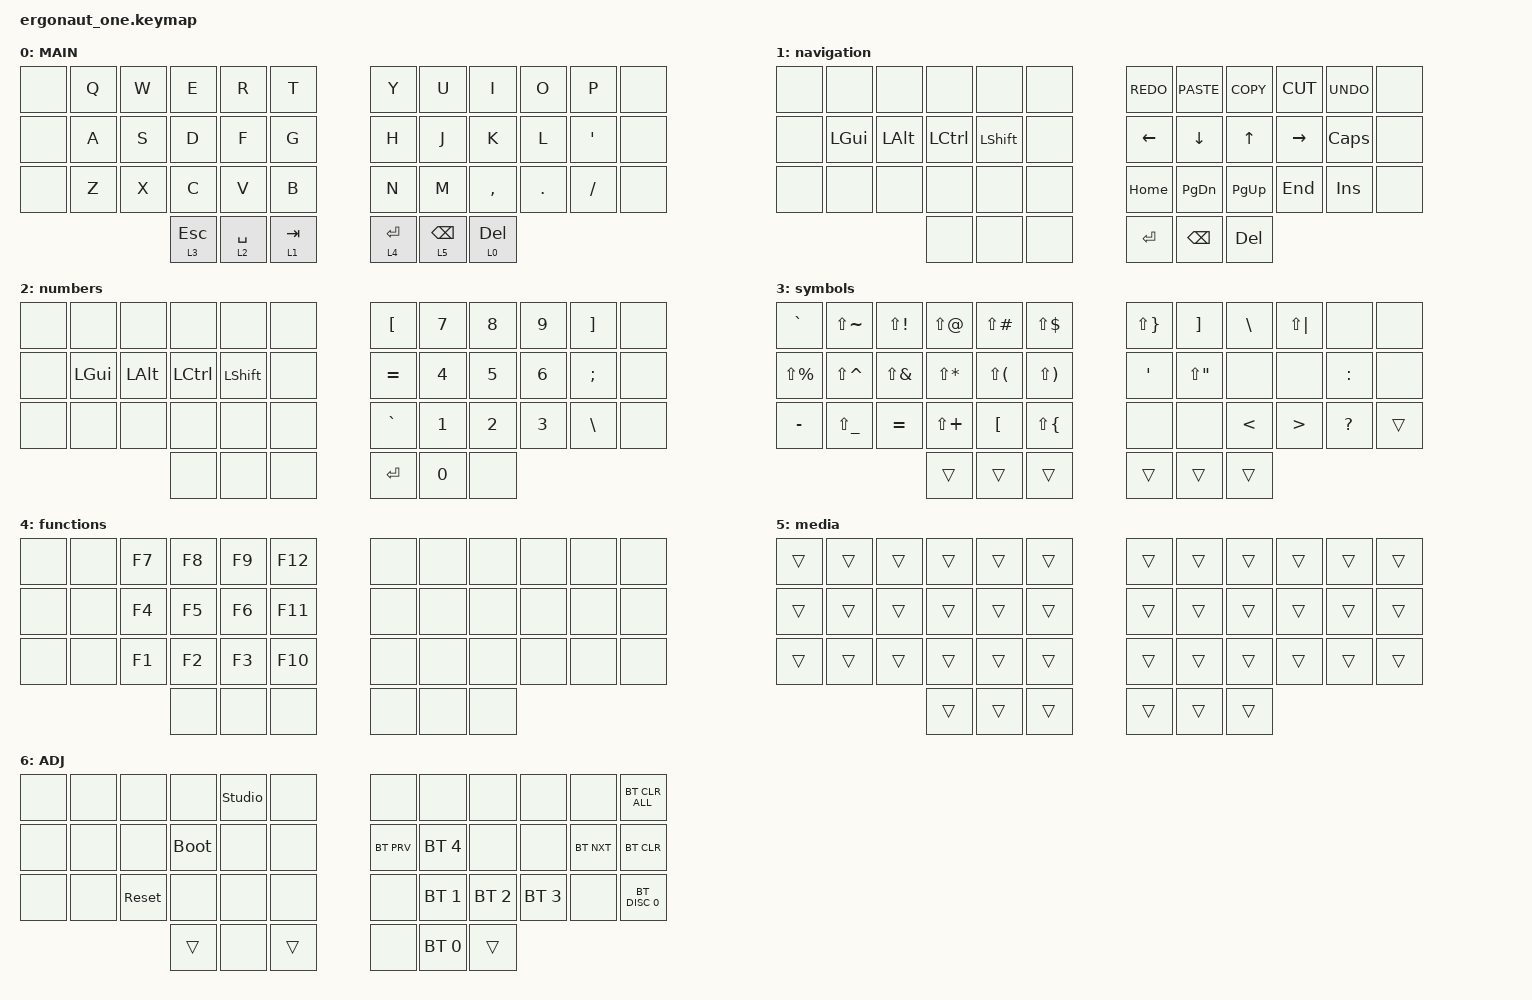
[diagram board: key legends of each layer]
#include <behaviors.dtsi>
#include <dt-bindings/zmk/bt.h>
#include <dt-bindings/zmk/keys.h>

#define DEF 0
#define LWR 1
#define RSE 2
#define ADJ 3

&lt { quick-tap-ms = <200>; };

&mt { quick-tap-ms = <200>; };

/ {
    conditional_layers {
        compatible = "zmk,conditional-layers";

        configuration {
            if-layers = <2 5>;
            then-layer = <6>;
        };
    };

    behaviors {
        Quotes: Quotes {
            compatible = "zmk,behavior-tap-dance";
            label = "QUOTES";
            #binding-cells = <0>;
            bindings = <&kp SQT>, <&kp DOUBLE_QUOTES>;
        };
    };

    keymap {
        compatible = "zmk,keymap";

        Base {
            display-name = "MAIN";
            bindings = <
&none  &kp Q  &kp W  &kp E         &kp R        &kp T      &kp Y        &kp U       &kp I      &kp O       &kp P      &none
&none  &kp A  &kp S  &kp D         &kp F        &kp G      &kp H        &kp J       &kp K      &kp L       &kp SQT    &none
&none  &kp Z  &kp X  &kp C         &kp V        &kp B      &kp N        &kp M       &kp COMMA  &kp PERIOD  &kp SLASH  &none
                     &lt 3 ESCAPE  &lt 2 SPACE  &lt 1 TAB  &lt 4 ENTER  &lt 5 BSPC  &lt 0 DEL
            >;

            label = "base";
        };

        Navigation {
            bindings = <
&none  &none         &none         &none      &none           &none  &kp K_REDO  &kp K_PASTE    &kp K_COPY    &kp K_CUT  &kp K_UNDO    &none
&none  &kp LEFT_GUI  &kp LEFT_ALT  &kp LCTRL  &kp LEFT_SHIFT  &none  &kp LEFT    &kp DOWN       &kp UP_ARROW  &kp RIGHT  &kp CAPSLOCK  &none
&none  &none         &none         &none      &none           &none  &kp HOME    &kp PAGE_DOWN  &kp PAGE_UP   &kp END    &kp INSERT    &none
                                   &none      &none           &none  &kp ENTER   &kp BACKSPACE  &kp DELETE
            >;

            label = "navigation";
        };

        Number {
            bindings = <
&none  &none         &none         &none      &none           &none  &kp LBKT   &kp N7        &kp N8        &kp N9        &kp RBKT  &none
&none  &kp LEFT_GUI  &kp LEFT_ALT  &kp LCTRL  &kp LEFT_SHIFT  &none  &kp EQUAL  &kp NUMBER_4  &kp N5        &kp NUMBER_6  &kp SEMI  &none
&none  &none         &none         &none      &none           &none  &kp GRAVE  &kp NUMBER_1  &kp NUMBER_2  &kp NUMBER_3  &kp BSLH  &none
                                   &none      &none           &none  &kp ENTER  &kp N0        &none
            >;

            label = "numbers";
        };

        Symbols {
            bindings = <
&kp GRAVE      &kp LS(TILDE)  &kp LS(EXCL)  &kp LS(AT)    &kp LS(POUND)  &kp LS(DLLR)  &kp LS(RBRC)  &kp RBKT     &kp BSLH       &kp LS(PIPE)      &none         &none
&kp LS(PRCNT)  &kp LS(CARET)  &kp LS(AMPS)  &kp LS(STAR)  &kp LS(LPAR)   &kp LS(RPAR)  &kp SQT       &kp LS(DQT)  &none          &none             &kp COLON     &none
&kp MINUS      &kp LS(UNDER)  &kp EQUAL     &kp LS(PLUS)  &kp LBKT       &kp LS(LBRC)  &none         &none        &kp LESS_THAN  &kp GREATER_THAN  &kp QUESTION  &trans
                                            &trans        &trans         &trans        &trans        &trans       &trans
            >;

            label = "symbols";
        };

        Function {
            bindings = <
&none  &none  &kp F7  &kp F8  &kp F9  &kp F12  &none  &none  &none  &none  &none  &none
&none  &none  &kp F4  &kp F5  &kp F6  &kp F11  &none  &none  &none  &none  &none  &none
&none  &none  &kp F1  &kp F2  &kp F3  &kp F10  &none  &none  &none  &none  &none  &none
                      &none   &none   &none    &none  &none  &none
            >;

            label = "functions";
        };

        Media {
            bindings = <
&trans  &trans  &trans  &trans  &trans  &trans  &trans  &trans  &trans  &trans  &trans  &trans
&trans  &trans  &trans  &trans  &trans  &trans  &trans  &trans  &trans  &trans  &trans  &trans
&trans  &trans  &trans  &trans  &trans  &trans  &trans  &trans  &trans  &trans  &trans  &trans
                        &trans  &trans  &trans  &trans  &trans  &trans
            >;

            label = "media";
        };

        Settings {
            display-name = "ADJ";
            bindings = <
&none  &none  &none       &none        &studio_unlock  &none   &none       &none         &none         &none         &none       &bt BT_CLR_ALL
&none  &none  &none       &bootloader  &none           &none   &bt BT_PRV  &bt BT_SEL 4  &none         &none         &bt BT_NXT  &bt BT_CLR
&none  &none  &sys_reset  &none        &none           &none   &none       &bt BT_SEL 1  &bt BT_SEL 2  &bt BT_SEL 3  &none       &bt BT_DISC 0
                          &trans       &none           &trans  &none       &bt BT_SEL 0  &trans
            >;

            label = "settings";
        };
    };
};
